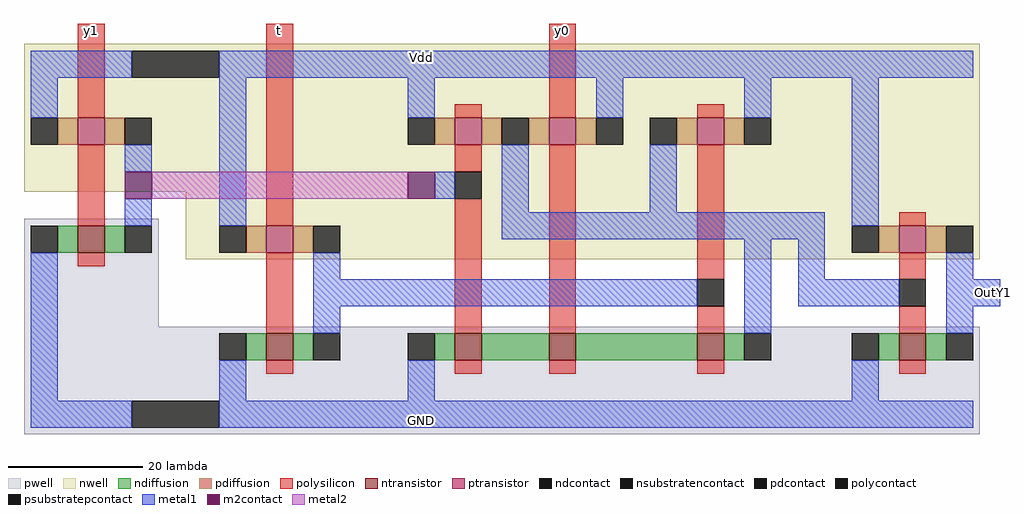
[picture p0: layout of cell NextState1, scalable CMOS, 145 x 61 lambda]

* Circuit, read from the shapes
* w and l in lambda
.subckt NextState1 GND OutY1 Vdd t y0 y1
M1 n1 y1 GND GND nfet w=4 l=4
M2 n2 t GND GND nfet w=4 l=4
M3 n3 n1 GND GND nfet w=4 l=4
M4 n4 y0 n3 GND nfet w=4 l=4
M5 n5 n2 n4 GND nfet w=4 l=4
M6 OutY1 n5 GND GND nfet w=4 l=4
M7 n1 y1 Vdd Vdd pfet w=4 l=4
M8 n2 t Vdd Vdd pfet w=4 l=4
M9 n5 n1 Vdd Vdd pfet w=4 l=4
M10 Vdd y0 n5 Vdd pfet w=4 l=4
M11 Vdd n2 n5 Vdd pfet w=4 l=4
M12 OutY1 n5 Vdd Vdd pfet w=4 l=4
.ends

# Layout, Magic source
magic
tech scmos
<< pwell >>
rect -67 -23 -47 -7
rect -67 -39 75 -23
<< nwell >>
rect -67 -3 75 19
rect -43 -13 75 -3
<< polysilicon >>
rect -59 8 -55 22
rect -59 -8 -55 4
rect -31 -8 -27 22
rect -3 8 1 10
rect 11 8 15 22
rect 33 8 37 10
rect -3 0 1 4
rect -59 -14 -55 -12
rect -31 -24 -27 -12
rect -3 -24 1 -4
rect 11 -24 15 4
rect 33 -16 37 4
rect 63 -8 67 -6
rect 33 -24 37 -20
rect 63 -16 67 -12
rect 63 -24 67 -20
rect -31 -30 -27 -28
rect -3 -30 1 -28
rect 11 -30 15 -28
rect 33 -30 37 -28
rect 63 -30 67 -28
<< ndiffusion >>
rect -62 -12 -59 -8
rect -55 -12 -52 -8
rect -34 -28 -31 -24
rect -27 -28 -24 -24
rect -6 -28 -3 -24
rect 1 -28 11 -24
rect 15 -28 33 -24
rect 37 -28 40 -24
rect 60 -28 63 -24
rect 67 -28 70 -24
<< pdiffusion >>
rect -62 4 -59 8
rect -55 4 -52 8
rect -6 4 -3 8
rect 1 4 4 8
rect 8 4 11 8
rect 15 4 18 8
rect 30 4 33 8
rect 37 4 40 8
rect -34 -12 -31 -8
rect -27 -12 -24 -8
rect 60 -12 63 -8
rect 67 -12 70 -8
<< metal1 >>
rect -66 14 -51 18
rect -38 14 74 18
rect -66 8 -62 14
rect -52 0 -48 4
rect -52 -8 -48 -4
rect -38 -8 -34 14
rect -10 8 -6 14
rect 18 8 22 14
rect 40 8 44 14
rect -6 -4 -3 0
rect 4 -6 8 4
rect 26 -6 30 4
rect 4 -10 52 -6
rect -66 -34 -62 -12
rect -24 -16 -20 -12
rect -24 -20 33 -16
rect -24 -24 -20 -20
rect 40 -24 44 -10
rect 48 -16 52 -10
rect 56 -8 60 14
rect 70 -16 74 -12
rect 48 -20 63 -16
rect 70 -20 78 -16
rect 70 -24 74 -20
rect -38 -34 -34 -28
rect -10 -34 -6 -28
rect 56 -34 60 -28
rect -66 -38 -51 -34
rect -38 -38 74 -34
<< metal2 >>
rect -48 -4 -10 0
<< ntransistor >>
rect -59 -12 -55 -8
rect -31 -28 -27 -24
rect -3 -28 1 -24
rect 11 -28 15 -24
rect 33 -28 37 -24
rect 63 -28 67 -24
<< ptransistor >>
rect -59 4 -55 8
rect -3 4 1 8
rect 11 4 15 8
rect 33 4 37 8
rect -31 -12 -27 -8
rect 63 -12 67 -8
<< polycontact >>
rect -3 -4 1 0
rect 33 -20 37 -16
rect 63 -20 67 -16
<< ndcontact >>
rect -66 -12 -62 -8
rect -52 -12 -48 -8
rect -38 -28 -34 -24
rect -24 -28 -20 -24
rect -10 -28 -6 -24
rect 40 -28 44 -24
rect 56 -28 60 -24
rect 70 -28 74 -24
<< pdcontact >>
rect -66 4 -62 8
rect -52 4 -48 8
rect -10 4 -6 8
rect 4 4 8 8
rect 18 4 22 8
rect 26 4 30 8
rect 40 4 44 8
rect -38 -12 -34 -8
rect -24 -12 -20 -8
rect 56 -12 60 -8
rect 70 -12 74 -8
<< m2contact >>
rect -52 -4 -48 0
rect -10 -4 -6 0
<< psubstratepcontact >>
rect -51 -38 -38 -34
<< nsubstratencontact >>
rect -51 14 -38 18
<< labels >>
rlabel metal1 -8 17 -8 17 5 Vdd
rlabel metal1 -8 -37 -8 -37 1 GND
rlabel polysilicon -57 21 -57 21 5 y1
rlabel polysilicon -29 21 -29 21 5 t
rlabel polysilicon 13 21 13 21 5 y0
rlabel metal1 77 -18 77 -18 7 OutY1
<< end >>
